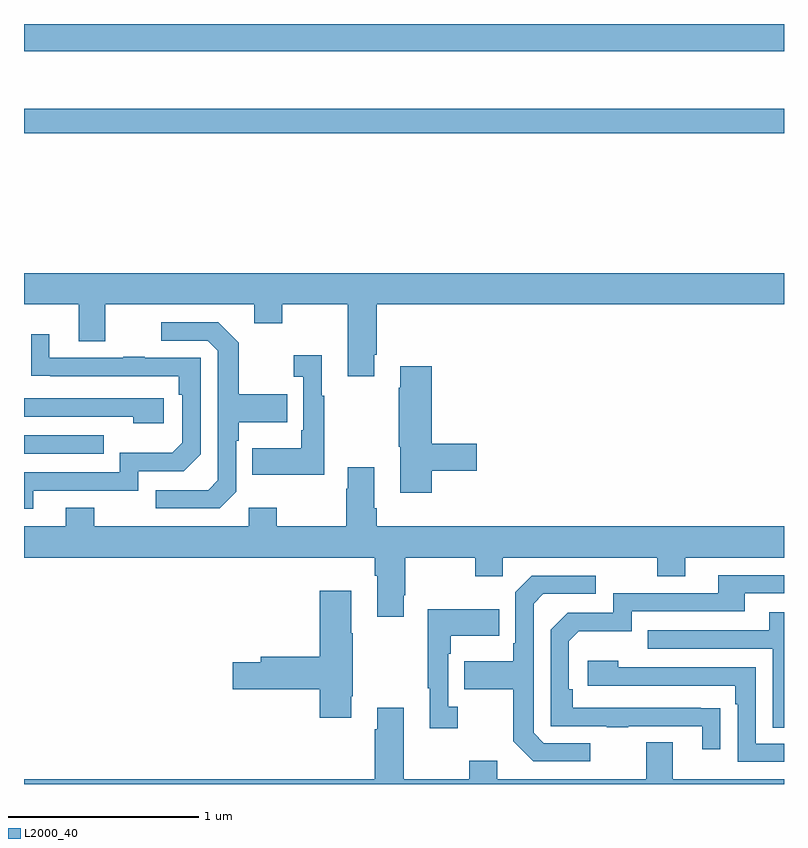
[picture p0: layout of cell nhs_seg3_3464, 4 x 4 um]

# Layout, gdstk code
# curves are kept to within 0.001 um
import gdstk
lib = gdstk.Library(unit=1e-6, precision=1e-09)
def R(c, l, rs):  # rectangles x0, y0, x1, y1
    for r in rs: c.add(gdstk.rectangle(r[:2], r[2:], *l))
def P(c, l, *ps):  # polygons
    for p in ps: c.add(gdstk.Polygon(p, *l))
L2000_40 = (2000, 40)

nhs_seg3_3464 = lib.new_cell('nhs_seg3_3464')
R(nhs_seg3_3464, L2000_40, [(291,692.139,291.419,692.235), (291,693.826,295,693.955), (291,694.256,295,694.4)])
P(nhs_seg3_3464, L2000_40, [(292.843,692.659),(292.856,692.659),(292.856,692.924),(295,692.924),(295,693.088),(291,693.088),(291,692.924),(291.287,692.924),(291.287,692.73),(291.427,692.73),(291.427,692.924),(292.211,692.924),(292.211,692.825),(292.359,692.825),(292.359,692.924),(292.703,692.924),(292.703,692.547),(292.843,692.547)],
  [(292.116,691.938),(292.116,692.207),(292.129,692.207),(292.129,692.303),(292.385,692.303),(292.385,692.451),(292.129,692.451),(292.129,692.723),(292.023,692.829),(291.723,692.829),(291.723,692.733),(291.966,692.733),(292.02,692.679),(292.02,691.998),(291.969,691.947),(291.693,691.947),(291.693,691.851),(292.029,691.851)],
  [(291.049,691.944),(291.6,691.944),(291.6,692.046),(291.84,692.046),(291.93,692.136),(291.93,692.643),(291.635,692.643),(291.635,692.648),(291.523,692.648),(291.523,692.643),(291.133,692.643),(291.133,692.767),(291.037,692.767),(291.037,692.548),(291.814,692.547),(291.814,692.45),(291.834,692.45),(291.834,692.196),(291.781,692.143),(291.504,692.143),(291.504,692.04),(291,692.04),(291,691.848),(291.049,691.848)],
  [(292.579,692.443),(292.567,692.443),(292.567,692.656),(292.419,692.656),(292.419,692.543),(292.47,692.543),(292.47,692.263),(292.458,692.263),(292.458,692.167),(292.201,692.167),(292.201,692.027),(292.579,692.027)],
  [(293.147,692.05),(293.383,692.05),(293.383,692.192),(293.147,692.192),(293.147,692.599),(292.979,692.599),(292.979,692.486),(292.972,692.486),(292.972,692.175),(292.979,692.175),(292.979,691.932),(293.147,691.932)],
  [(291.736,692.43),(291,692.43),(291,692.334),(291.575,692.334),(291.575,692.3),(291.736,692.3)],
  [(292.856,691.852),(292.843,691.852),(292.843,692.068),(292.703,692.068),(292.703,691.955),(292.696,691.955),(292.696,691.756),(292.329,691.756),(292.329,691.855),(292.182,691.855),(292.182,691.756),(291.369,691.756),(291.369,691.855),(291.221,691.855),(291.221,691.756),(291,691.756),(291,691.592),(292.847,691.592),(292.847,691.496),(292.859,691.496),(292.859,691.281),(292.999,691.281),(292.999,691.393),(293.007,691.393),(293.007,691.592),(293.374,691.592),(293.374,691.493),(293.52,691.493),(293.52,691.592),(294.334,691.592),(294.334,691.493),(294.481,691.493),(294.481,691.592),(295,691.592),(295,691.756),(292.856,691.756)],
  [(294.665,690.8),(293.888,690.801),(293.888,690.898),(293.868,690.898),(293.868,691.152),(293.921,691.205),(294.198,691.205),(294.198,691.308),(294.793,691.308),(294.793,691.404),(295,691.404),(295,691.5),(294.653,691.5),(294.653,691.404),(294.102,691.404),(294.102,691.302),(293.862,691.302),(293.772,691.212),(293.772,690.705),(294.067,690.705),(294.067,690.7),(294.179,690.7),(294.179,690.705),(294.569,690.705),(294.569,690.582),(294.665,690.582)],
  [(293.98,690.615),(293.736,690.615),(293.682,690.669),(293.682,691.35),(293.733,691.401),(294.01,691.401),(294.01,691.497),(293.673,691.497),(293.586,691.41),(293.586,691.141),(293.574,691.141),(293.574,691.045),(293.317,691.045),(293.317,690.898),(293.574,690.898),(293.574,690.625),(293.679,690.519),(293.98,690.519)],
  [(292.723,690.862),(292.731,690.862),(292.731,691.193),(292.723,691.193),(292.723,691.417),(292.556,691.417),(292.556,691.07),(292.247,691.07),(292.247,691.04),(292.098,691.04),(292.098,690.898),(292.556,690.898),(292.556,690.75),(292.723,690.75)],
  [(293.284,690.806),(293.232,690.806),(293.232,691.085),(293.245,691.085),(293.245,691.181),(293.501,691.181),(293.501,691.321),(293.124,691.321),(293.124,690.905),(293.135,690.905),(293.135,690.693),(293.284,690.693)],
  [(295,691.303),(294.923,691.303),(294.923,691.209),(294.283,691.209),(294.283,691.113),(294.942,691.113),(294.942,690.697),(295,690.697)],
  [(295,690.612),(294.852,690.612),(294.852,691.014),(294.128,691.014),(294.128,691.048),(293.967,691.048),(293.967,690.918),(294.743,690.918),(294.743,690.821),(294.756,690.821),(294.756,690.516),(295,690.516)],
  [(295,690.424),(294.415,690.424),(294.415,690.619),(294.275,690.619),(294.275,690.424),(293.491,690.424),(293.491,690.523),(293.344,690.523),(293.344,690.424),(292.999,690.424),(292.999,690.802),(292.859,690.802),(292.859,690.689),(292.847,690.689),(292.847,690.424),(291,690.424),(291,690.4),(295,690.4)])

lib.write_gds('nhs_seg3_3464.gds')
